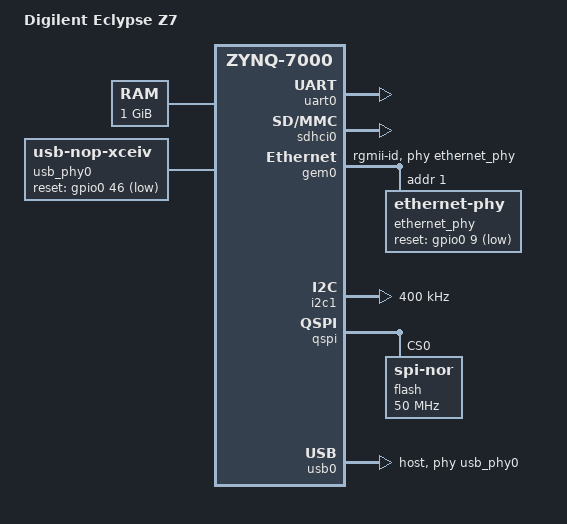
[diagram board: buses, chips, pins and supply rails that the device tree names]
// SPDX-License-Identifier: GPL-2.0+
/*
 * Digilent Eclypse Z7 (XC7Z020-1CLG484), processing system only.
 *
 * ONE file for both software projects: build.sh copies it into U-Boot (arch/arm/dts/) and into
 * the kernel (arch/arm/boot/dts/xilinx/). Both trees have a zynq-7000.dtsi with the same layout,
 * which is why the same text compiles in each.
 *
 * What the board wires to the PS, from its reference manual and the Vivado board preset:
 *   UART0   MIO 14/15   -> FT2232HQ USB-UART (J6), 115200 8N1
 *   SD0     MIO 40-45   -> microSD slot J4, card detect MIO 47, no write-protect pin
 *   GEM0    MIO 16-27   -> RTL8211E-VL PHY, RGMII, MDIO address 1, reset on MIO 9
 *   USB0    MIO 28-39   -> ULPI PHY, reset on MIO 46, micro-AB connector
 *   I2C1    MIO 12/13   -> platform MCU (SYZYGY power / enumeration)
 *   QSPI    MIO 1-6, 8  -> 16 MB flash (holds the factory MAC address in its OTP area)
 *   DDR3L   1 GiB, 32 bit, PS_CLK 33.3333 MHz
 *
 * The MIO pin MUXING is not in this file: the Zynq has no pinctrl driver for it in this setup. It is
 * written by the PS7 initialisation that the U-Boot SPL runs (docs/03-uboot-spl.md).
 * Nothing of the programmable logic (PL) is described: the fabric stays unconfigured.
 *
 * "bootph-all" marks the nodes U-Boot's SPL also needs (console and SD card); Linux ignores it.
 */
/dts-v1/;
#include "zynq-7000.dtsi"
#include <dt-bindings/gpio/gpio.h>

/ {
	model = "Digilent Eclypse Z7";
	compatible = "digilent,zynq-eclypse-z7", "xlnx,zynq-7000";

	aliases {
		ethernet0 = &gem0;
		serial0 = &uart0;
		spi0 = &qspi;
		mmc0 = &sdhci0;
		i2c0 = &i2c1;
	};

	memory@0 {
		device_type = "memory";
		reg = <0x0 0x40000000>;
	};

	chosen {
		bootargs = "";
		stdout-path = "serial0:115200n8";
	};

	usb_phy0: phy0 {
		#phy-cells = <0>;
		compatible = "usb-nop-xceiv";
		reset-gpios = <&gpio0 46 GPIO_ACTIVE_LOW>;
	};
};

&clkc {
	/* The board feeds 33.3333 MHz to PS_CLK. */
	ps-clk-frequency = <33333333>;
};

&uart0 {
	bootph-all;
	status = "okay";
};

&sdhci0 {
	bootph-all;
	status = "okay";
	/* There is no write-protect switch on a microSD slot. */
	disable-wp;
};

&gem0 {
	status = "okay";
	phy-mode = "rgmii-id";
	phy-handle = <&ethernet_phy>;

	ethernet_phy: ethernet-phy@1 {
		reg = <1>;
		/* Realtek RTL8211E-VL; its RESET# pin is MIO 9. */
		reset-gpios = <&gpio0 9 GPIO_ACTIVE_LOW>;
		reset-assert-us = <10000>;
		reset-deassert-us = <30000>;
	};
};

&gpio0 {
	status = "okay";
};

&i2c1 {
	status = "okay";
	clock-frequency = <400000>;
};

&qspi {
	bootph-all;
	status = "okay";
	num-cs = <1>;
	is-dual = <0>;

	flash@0 {
		compatible = "jedec,spi-nor";
		reg = <0>;
		spi-max-frequency = <50000000>;
		#address-cells = <1>;
		#size-cells = <1>;
	};
};

&usb0 {
	status = "okay";
	dr_mode = "host";
	usb-phy = <&usb_phy0>;
};
